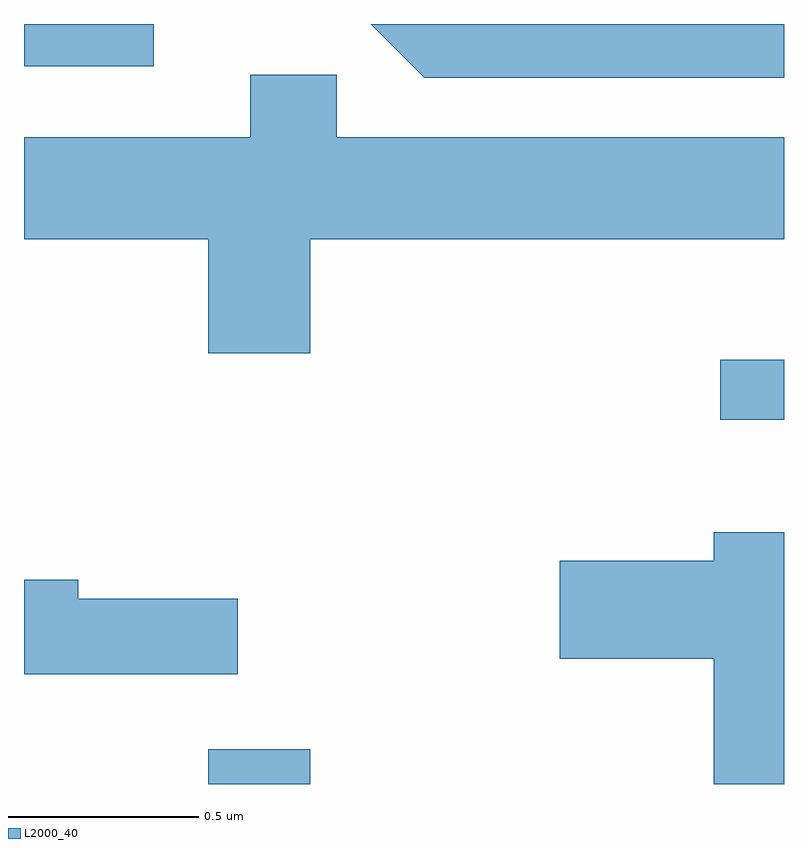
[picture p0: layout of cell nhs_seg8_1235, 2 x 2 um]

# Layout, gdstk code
import gdstk
lib = gdstk.Library(unit=1e-6, precision=1e-09)
def R(c, l, rs):  # rectangles x0, y0, x1, y1
    for r in rs: c.add(gdstk.rectangle(r[:2], r[2:], *l))
def P(c, l, *ps):  # polygons
    for p in ps: c.add(gdstk.Polygon(p, *l))
L2000_40 = (2000, 40)

nhs_seg8_1235 = lib.new_cell('nhs_seg8_1235')
R(nhs_seg8_1235, L2000_40, [(195.096,1808.342,195.364,1808.434), (196.443,1809.301,196.611,1809.459), (194.611,1810.231,194.953,1810.342)])
P(nhs_seg8_1235, L2000_40, [(196.611,1810.342),(195.523,1810.342),(195.664,1810.201),(196.611,1810.201)],
  [(195.364,1809.776),(196.611,1809.776),(196.611,1810.044),(195.434,1810.044),(195.434,1810.209),(195.206,1810.209),(195.206,1810.044),(194.611,1810.044),(194.611,1809.776),(195.096,1809.776),(195.096,1809.476),(195.364,1809.476)],
  [(196.611,1809.004),(196.426,1809.004),(196.426,1808.929),(196.021,1808.929),(196.021,1808.671),(196.426,1808.671),(196.426,1808.342),(196.611,1808.342)],
  [(195.174,1808.829),(194.754,1808.829),(194.754,1808.879),(194.611,1808.879),(194.611,1808.631),(195.174,1808.631)])

lib.write_gds('nhs_seg8_1235.gds')
